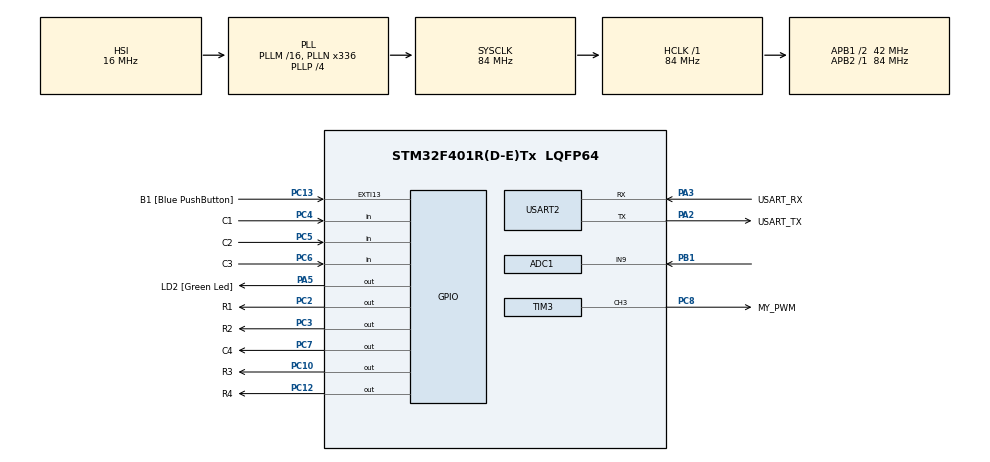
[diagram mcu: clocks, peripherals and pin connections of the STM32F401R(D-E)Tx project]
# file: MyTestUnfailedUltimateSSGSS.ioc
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ADC1.Channel-0\#ChannelRegularConversion=ADC_CHANNEL_9
ADC1.DMAContinuousRequests=ENABLE
ADC1.ExternalTrigConv=ADC_EXTERNALTRIGCONV_T2_TRGO
ADC1.NbrOfConversionFlag=1
ADC1.Rank-0\#ChannelRegularConversion=1
ADC1.SamplingTime-0\#ChannelRegularConversion=ADC_SAMPLETIME_3CYCLES
ADC1.master=1
Dma.ADC1.0.Direction=DMA_PERIPH_TO_MEMORY
Dma.ADC1.0.FIFOMode=DMA_FIFOMODE_DISABLE
Dma.ADC1.0.Instance=DMA2_Stream0
Dma.ADC1.0.MemDataAlignment=DMA_MDATAALIGN_WORD
Dma.ADC1.0.MemInc=DMA_MINC_ENABLE
Dma.ADC1.0.Mode=DMA_CIRCULAR
Dma.ADC1.0.PeriphDataAlignment=DMA_PDATAALIGN_WORD
Dma.ADC1.0.PeriphInc=DMA_PINC_DISABLE
Dma.ADC1.0.Priority=DMA_PRIORITY_HIGH
Dma.Request0=ADC1
Dma.Request1=TIM3_CH3
Dma.TIM3_CH3.1.Direction=DMA_MEMORY_TO_PERIPH
Dma.TIM3_CH3.1.FIFOMode=DMA_FIFOMODE_DISABLE
Dma.TIM3_CH3.1.Instance=DMA1_Stream7
Dma.TIM3_CH3.1.MemDataAlignment=DMA_MDATAALIGN_WORD
Dma.TIM3_CH3.1.MemInc=DMA_MINC_ENABLE
Dma.TIM3_CH3.1.Mode=DMA_NORMAL
Dma.TIM3_CH3.1.PeriphDataAlignment=DMA_PDATAALIGN_WORD
Dma.TIM3_CH3.1.PeriphInc=DMA_PINC_DISABLE
Dma.TIM3_CH3.1.Priority=DMA_PRIORITY_HIGH
Mcu.Family=STM32F4
Mcu.Name=STM32F401R(D-E)Tx
Mcu.Package=LQFP64
NVIC.DMA1_Stream7_IRQn=true\:0\:0\:false\:false\:true\:false\:true
NVIC.DMA2_Stream0_IRQn=true\:0\:0\:false\:false\:true\:false\:true
NVIC.PriorityGroup=NVIC_PRIORITYGROUP_0
PA13.GPIO_Label=TMS
PA13.Mode=Serial_Wire
PA13.Signal=SYS_JTMS-SWDIO
PA14.GPIO_Label=TCK
PA14.Mode=Serial_Wire
PA14.Signal=SYS_JTCK-SWCLK
PA2.GPIO_Label=USART_TX
PA2.GPIO_Mode=GPIO_MODE_AF_PP
PA2.GPIO_PuPd=GPIO_NOPULL
PA2.GPIO_Speed=GPIO_SPEED_FREQ_LOW
PA2.Mode=Asynchronous
PA2.Signal=USART2_TX
PA3.GPIO_Label=USART_RX
PA3.GPIO_Mode=GPIO_MODE_AF_PP
PA3.GPIO_PuPd=GPIO_NOPULL
PA3.GPIO_Speed=GPIO_SPEED_FREQ_LOW
PA3.Mode=Asynchronous
PA3.Signal=USART2_RX
PA5.GPIO_Label=LD2 [Green Led]
PA5.GPIO_Mode=GPIO_MODE_OUTPUT_PP
PA5.GPIO_PuPd=GPIO_NOPULL
PA5.GPIO_Speed=GPIO_SPEED_FREQ_LOW
PA5.Signal=GPIO_Output
PB1.Signal=ADCx_IN9
PB3.GPIO_Label=SWO
PB3.Signal=SYS_JTDO-SWO
PC10.GPIO_Label=R3
PC10.GPIO_ModeDefaultOutputPP=GPIO_MODE_OUTPUT_OD
PC10.Signal=GPIO_Output
PC12.GPIO_Label=R4
PC12.GPIO_ModeDefaultOutputPP=GPIO_MODE_OUTPUT_OD
PC12.Signal=GPIO_Output
PC13-ANTI_TAMP.GPIO_Label=B1 [Blue PushButton]
PC13-ANTI_TAMP.GPIO_ModeDefaultEXTI=GPIO_MODE_IT_FALLING
PC13-ANTI_TAMP.GPIO_PuPd=GPIO_NOPULL
PC13-ANTI_TAMP.Signal=GPXTI13
PC14-OSC32_IN.Mode=LSE-External-Oscillator
PC14-OSC32_IN.Signal=RCC_OSC32_IN
PC15-OSC32_OUT.Mode=LSE-External-Oscillator
PC15-OSC32_OUT.Signal=RCC_OSC32_OUT
PC2.GPIO_Label=R1
PC2.GPIO_ModeDefaultOutputPP=GPIO_MODE_OUTPUT_OD
PC2.Signal=GPIO_Output
PC3.GPIO_Label=R2
PC3.GPIO_ModeDefaultOutputPP=GPIO_MODE_OUTPUT_OD
PC3.Signal=GPIO_Output
PC4.GPIO_Label=C1
PC4.GPIO_PuPd=GPIO_PULLUP
PC4.Signal=GPIO_Input
PC5.GPIO_Label=C2
PC5.GPIO_PuPd=GPIO_PULLUP
PC5.Signal=GPIO_Input
PC6.GPIO_Label=C3
PC6.GPIO_PuPd=GPIO_PULLUP
PC6.Signal=GPIO_Input
PC7.GPIO_Label=C4
PC7.Signal=GPIO_Output
PC8.GPIO_Label=MY_PWM
PC8.Signal=S_TIM3_CH3
PH0\ -\ OSC_IN.Mode=HSE-External-Clock-Source
PH0\ -\ OSC_IN.Signal=RCC_OSC_IN
PH1\ -\ OSC_OUT.Mode=HSE-External-Clock-Source
PH1\ -\ OSC_OUT.Signal=RCC_OSC_OUT
ProjectManager.HeapSize=0x200
ProjectManager.StackSize=0x400
ProjectManager.TargetToolchain=MDK-ARM V5
RCC.48MHZClocksFreq_Value=48000000
RCC.AHBFreq_Value=84000000
RCC.APB1CLKDivider=RCC_HCLK_DIV2
RCC.APB1Freq_Value=42000000
RCC.APB1TimFreq_Value=84000000
RCC.APB2Freq_Value=84000000
RCC.APB2TimFreq_Value=84000000
RCC.CortexFreq_Value=84000000
RCC.HCLKFreq_Value=84000000
RCC.HSE_VALUE=8000000
RCC.HSI_VALUE=16000000
RCC.PLLN=336
RCC.PLLP=RCC_PLLP_DIV4
RCC.PLLQ=7
RCC.SYSCLKFreq_VALUE=84000000
RCC.SYSCLKSource=RCC_SYSCLKSOURCE_PLLCLK
RCC.VCOOutputFreq_Value=336000000
SH.ADCx_IN9.0=ADC1_IN9,IN9
SH.S_TIM3_CH3.0=TIM3_CH3,PWM Generation3 CH3
TIM2.Period=24
TIM2.Prescaler=83
TIM2.TIM_MasterOutputTrigger=TIM_TRGO_UPDATE
TIM3.AutoReloadPreload=TIM_AUTORELOAD_PRELOAD_ENABLE
TIM3.Channel-PWM\ Generation3\ CH3=TIM_CHANNEL_3
TIM3.Period=2100-1
USART2.VirtualMode=VM_ASYNC
VP_TIM2_VS_ClockSourceINT.Mode=Internal
VP_TIM3_VS_ClockSourceINT.Mode=Internal
board=NUCLEO-F401RE

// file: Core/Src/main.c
/* USER CODE BEGIN Header */
/**
  ******************************************************************************
  * @file           : main.c
  * @brief          : Main program body
  ******************************************************************************
  * @attention
  *
  * <h2><center>&copy; Copyright (c) 2021 STMicroelectronics.
  * All rights reserved.</center></h2>
  *
  * This software component is licensed by ST under BSD 3-Clause license,
  * the "License"; You may not use this file except in compliance with the
  * License. You may obtain a copy of the License at:
  *                        opensource.org/licenses/BSD-3-Clause
  *
  ******************************************************************************
  */
/* USER CODE END Header */
#include "main.h"
#include "adc.h"
#include "dma.h"
#include "tim.h"
#include "usart.h"
#include "gpio.h"

/* USER CODE BEGIN Includes */
#include "stdio.h"
#include "stdlib.h"
//#define ARM_MATH_CM4
//#include "arm_math.h"

#include "MCUFRIEND_kbv.h"
#include "math.h"
#include "ball.h"

//#include "MCUFRIEND_kbv.h"
/* USER CODE END Includes */

/* USER CODE BEGIN PD */
#define SNR_THRESHOLD_F32    75.0f
#if defined(ARM_MATH_MVEF) && !defined(ARM_MATH_AUTOVECTORIZE)
/* Must be a multiple of 16 */
#define NUM_TAPS_ARRAY_SIZE              32
#else
#define NUM_TAPS_ARRAY_SIZE              29
#endif
#define NUM_TAPS              29

#define TEST_LENGTH_SAMPLES  320

//#define BLOCK_SIZE            1
//#if defined(ARM_MATH_MVEF) && !defined(ARM_MATH_AUTOVECTORIZE)
//static float32_t firStateF32[2 * BLOCK_SIZE + NUM_TAPS - 1];
//#else
//static float32_t firStateF32[BLOCK_SIZE + NUM_TAPS - 1];
//#endif

/* USER CODE END PD */

/* USER CODE BEGIN PV */

///////////////////////LAB4 VARIABLES
int hour = 0;
int min = 0;
int sec = 0;
int tauxRafraichissement = 200; //en ms
volatile int milli = 0;
volatile int token = 1;

///////////////////////LAB6 VARIABLES
//float tab_value[256];
float tab_value_30inputs[30];
float tab_output[256];
float FFT_value[256];
float abs_value[128];
//uint32_t blockSize = BLOCK_SIZE;
uint32_t numBlocks = 256;

///////////////////////LAB7 VARIABLES
//volatile int flag_done = -1;
volatile int current_state = 0;
volatile int key = 1;
volatile float tempsDePesee = 0;
//volatile int local_time = 0;
const float pi = 3.14159265358979323846;

volatile float positionXball;
volatile float positionYball; //Ball
volatile float positionYball_initiale;
volatile float positionXball_initiale;
float positionXpig;
float positionYpig;  // Pig
volatile float vx ;	//is related to y coordinate for LCD
volatile float vy ;	//is related to x coordinate for LCD
volatile float ay = -0.01;
volatile int compteur = 0;
volatile int compteur2 = 0;
float v_initial;
volatile int flag_state = 0;
volatile int compteur3 = 0;

///////////////////////LAB8 VARIABLES
#define TABLE_LENGTH 8000
uint32_t tab_value1[TABLE_LENGTH];
uint32_t tab_value2[TABLE_LENGTH];
volatile uint32_t * tab = tab_value1;
volatile int flag_done = 0;
float A = 0.0;
float k = 0.65;

/* USER CODE END PV */

void SystemClock_Config(void);

/* USER CODE BEGIN 0 */
#ifdef __GNUC__
#define PUTCHAR_PROTOTYPE int __io_putchar(int ch)
#else
#define PUTCHAR_PROTOTYPE int fputc(int ch, FILE *f)
#endif /* __GNUC__ */

#define SUPPORT_ECRAN_1

void selectRow (int r)
{
	if (r==1) HAL_GPIO_WritePin(R1_GPIO_Port, R1_Pin, GPIO_PIN_RESET);
	else HAL_GPIO_WritePin(R1_GPIO_Port, R1_Pin, GPIO_PIN_SET);
	if (r==2) HAL_GPIO_WritePin(R2_GPIO_Port, R2_Pin, GPIO_PIN_RESET);
	else HAL_GPIO_WritePin(R2_GPIO_Port, R2_Pin, GPIO_PIN_SET);
	if (r==3) HAL_GPIO_WritePin(R3_GPIO_Port, R3_Pin, GPIO_PIN_RESET);
	else HAL_GPIO_WritePin(R3_GPIO_Port, R3_Pin, GPIO_PIN_SET);
	if (r==4) HAL_GPIO_WritePin(R4_GPIO_Port, R4_Pin, GPIO_PIN_RESET);
	else HAL_GPIO_WritePin(R4_GPIO_Port, R4_Pin, GPIO_PIN_SET);
}

int readCol()
{
	int result = 0;
	if (HAL_GPIO_ReadPin(C1_GPIO_Port, C1_Pin) == GPIO_PIN_RESET) result += 1;
	if (HAL_GPIO_ReadPin(C2_GPIO_Port, C2_Pin) == GPIO_PIN_RESET) result += 2;
	if (HAL_GPIO_ReadPin(C3_GPIO_Port, C3_Pin) == GPIO_PIN_RESET) result += 4;
	if (HAL_GPIO_ReadPin(C4_GPIO_Port, C4_Pin) == GPIO_PIN_RESET) result += 8;
	return result;
}

int keyPressed()
{
	int rowPos=1; //Current row positiom
	int rowValue; //Value read from the current row
	for (rowPos=1; rowPos <= 4; rowPos++)
	{
		selectRow(rowPos);
		HAL_Delay(10);
//		while (token2 == 0); //attendre 10ms
//		token2 = 0;
		rowValue=readCol();
		if (rowValue != 0)
		{ // a key is pressed
			int result = 4*(rowPos-1);
			while (!(rowValue & 1))
			{ // test if bit #0 is false
				result++;
				rowValue>>=1;
			}
			while (readCol() != 0); // key no more pressed
			return result;
		}
	}
	return -1;
}

/* USER CODE END 0 */

int main(void)
{

  /* MCU Configuration--------------------------------------------------------*/

  /* Reset of all peripherals, Initializes the Flash interface and the Systick. */
  HAL_Init();

  /* Configure the system clock */
  SystemClock_Config();

  /* Initialize all configured peripherals */
  MX_GPIO_Init();
  MX_USART2_UART_Init();
  MX_ADC1_Init();
  MX_DMA_Init();
  MX_TIM2_Init();
  MX_TIM3_Init();
  /* USER CODE BEGIN 2 */
	// LCD initialization
	LCD_Begin();
	HAL_Delay(20);
	LCD_SetRotation(0);
	LCD_FillScreen(BLACK);
	//LCD_DrawFastHLine(0, 160, 240, YELLOW);
//	LCD_DrawCircle(N/2, N/2, 15, WHITE);
	//LCD_DrawRect(20, 40, 202, 240, RED);
	LCD_Printf("! HELLO ! ");
//	HAL_TIM_Base_Start(&htim2);
//	HAL_TIM_Base_Start_IT(&htim2);

//	HAL_ADC_Start_DMA(&hadc1, tab, TABLE_LENGTH);

  /* USER CODE END 2 */

  /* Infinite loop */
  /* USER CODE BEGIN WHILE */
//
	int i;

	HAL_TIM_PWM_Start_DMA(&htim3, TIM_CHANNEL_3, (uint32_t *)tab, TABLE_LENGTH);
	tab = tab_value2;

	double periode = 100.00;
	int a = 0;
	int zz= 0;
	double constante = pow(5, 0.1666666666667);

  while (1)
  {

		flag_done = 0;

		for (i=0;i<TABLE_LENGTH;i++) {
				double modulo = (i%((int)(periode)));
				A = 1+k*sin(4*pi*((float) i)*(1/8000.0));
				double value = 1000*A;
				if(modulo < periode/2)
					value = 0*A;
				tab[i]=(int) value;
		}

		while (flag_done == 0);

		if(a==5){
			periode/=constante;
			a=0;
			zz++;
		}

		if(zz==6){
			constante = 1/constante;
		}

		if(zz==12){
			constante = 1/constante;
			zz=0;
			periode=100.00;
		}

		a++;

    /* USER CODE END WHILE */

  }
}

void SystemClock_Config(void)
{
  RCC_OscInitTypeDef RCC_OscInitStruct = {0};
  RCC_ClkInitTypeDef RCC_ClkInitStruct = {0};

  /** Configure the main internal regulator output voltage
  */
  __HAL_RCC_PWR_CLK_ENABLE();
  __HAL_PWR_VOLTAGESCALING_CONFIG(PWR_REGULATOR_VOLTAGE_SCALE2);
  /** Initializes the RCC Oscillators according to the specified parameters
  * in the RCC_OscInitTypeDef structure.
  */
  RCC_OscInitStruct.OscillatorType = RCC_OSCILLATORTYPE_HSI;
  RCC_OscInitStruct.HSIState = RCC_HSI_ON;
  RCC_OscInitStruct.HSICalibrationValue = RCC_HSICALIBRATION_DEFAULT;
  RCC_OscInitStruct.PLL.PLLState = RCC_PLL_ON;
  RCC_OscInitStruct.PLL.PLLSource = RCC_PLLSOURCE_HSI;
  RCC_OscInitStruct.PLL.PLLM = 16;
  RCC_OscInitStruct.PLL.PLLN = 336;
  RCC_OscInitStruct.PLL.PLLP = RCC_PLLP_DIV4;
  RCC_OscInitStruct.PLL.PLLQ = 7;
  if (HAL_RCC_OscConfig(&RCC_OscInitStruct) != HAL_OK)
  {
    Error_Handler();
  }
  /** Initializes the CPU, AHB and APB buses clocks
  */
  RCC_ClkInitStruct.ClockType = RCC_CLOCKTYPE_HCLK|RCC_CLOCKTYPE_SYSCLK
                              |RCC_CLOCKTYPE_PCLK1|RCC_CLOCKTYPE_PCLK2;
  RCC_ClkInitStruct.SYSCLKSource = RCC_SYSCLKSOURCE_PLLCLK;
  RCC_ClkInitStruct.AHBCLKDivider = RCC_SYSCLK_DIV1;
  RCC_ClkInitStruct.APB1CLKDivider = RCC_HCLK_DIV2;
  RCC_ClkInitStruct.APB2CLKDivider = RCC_HCLK_DIV1;

  if (HAL_RCC_ClockConfig(&RCC_ClkInitStruct, FLASH_LATENCY_2) != HAL_OK)
  {
    Error_Handler();
  }
}

/* USER CODE BEGIN 4 */
/**
* @brief Retargets the C library printf function to the USART.
* @param None
* @retval None
*/
PUTCHAR_PROTOTYPE
{
/* Place your implementation of fputc here */
/* e.g. write a character to the USART2 and Loop until the end
of transmission */
HAL_UART_Transmit(&huart2, (uint8_t *)&ch, 1, 0xFFFF);
return ch;
}

void HAL_TIM_PeriodElapsedCallback(TIM_HandleTypeDef *htim)
{
 if (htim->Instance == TIM2)
	{
		HAL_ADC_Start(&hadc1);
		HAL_GPIO_TogglePin(GPIOA,GPIO_PIN_5);
//		vx = 1/10; //constante
//		positionYball = positionYball + 2.5;// vx*10;
//		//if (vy !=0)	vy = vy + ay;
//		vy = vy + ay;
//		positionXball = positionXball + vy*10;
//
//		//Did the user win?
//		if (
//			((positionYpig-positionYball)*(positionYpig-positionYball)
//			+ (positionXpig-positionXball)*(positionXpig-positionXball)) <= 900
//		) 	flag_done = 1;// Win
//		else if (positionYball > 320 || positionXball > 240 || positionXball < 0) flag_done = 2;// Sort de l'Иcran donc loose
//		else if (positionYball >= 150 && positionYball <= 170 && positionXball <= 120) flag_done = 2;// Toucher le mur donc loose
//		else flag_done = -1; //rien ne s'est passИ
	}
}

void HAL_SYSTICK_Callback(void)
{
    static int local_time= 0;
    local_time++;
}

void HAL_TIM_PWM_PulseFinishedCallback(TIM_HandleTypeDef *htim) {

	HAL_TIM_PWM_Start_DMA(&htim3, TIM_CHANNEL_3, (uint32_t *)tab, TABLE_LENGTH);

	if (tab == tab_value1) tab = tab_value2;
	else tab = tab_value1;

  flag_done	= 1;
}
/* USER CODE END 4 */

void Error_Handler(void)
{
  __disable_irq();
  while (1)
  {
  }
}

/************************ (C) COPYRIGHT STMicroelectronics *****END OF FILE****/
